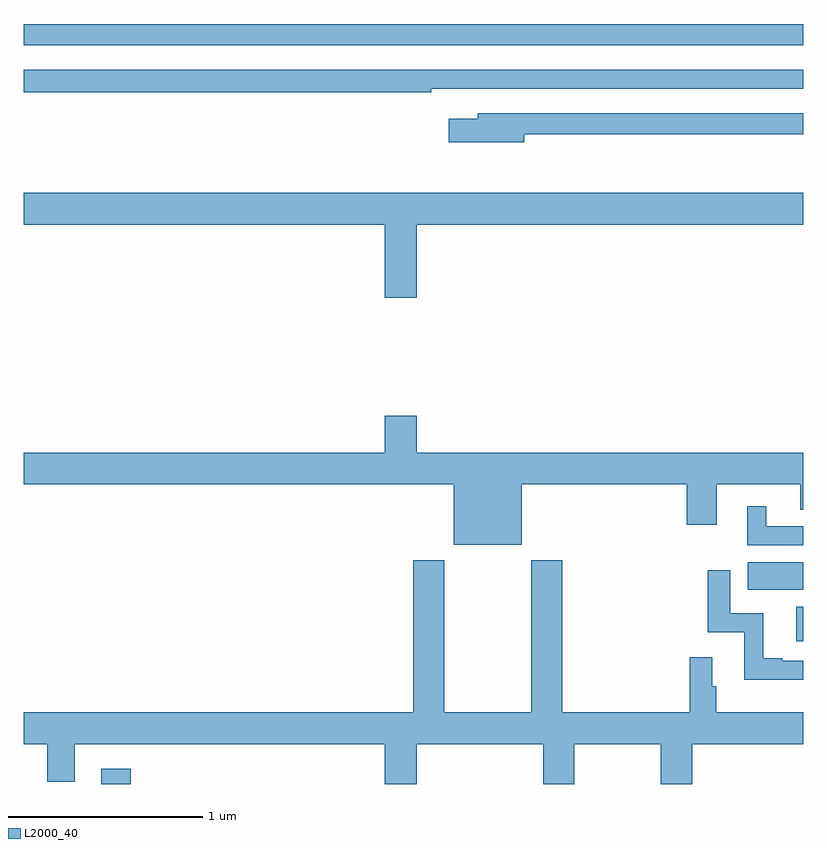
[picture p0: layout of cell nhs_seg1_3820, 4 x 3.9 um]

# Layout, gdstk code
import gdstk
lib = gdstk.Library(unit=1e-6, precision=1e-09)
def R(c, l, rs):  # rectangles x0, y0, x1, y1
    for r in rs: c.add(gdstk.rectangle(r[:2], r[2:], *l))
def P(c, l, *ps):  # polygons
    for p in ps: c.add(gdstk.Polygon(p, *l))
L2000_40 = (2000, 40)

nhs_seg1_3820 = lib.new_cell('nhs_seg1_3820')
R(nhs_seg1_3820, L2000_40, [(319.397,546.199,319.55,546.277), (322.964,546.932,323,547.108), (322.716,547.196,323,547.336), (319,549.99,323,550.099)])
P(nhs_seg1_3820, L2000_40, [(321.092,549.768),(323,549.768),(323,549.864),(319,549.864),(319,549.748),(321.092,549.748)],
  [(321.568,549.534),(323,549.534),(323,549.642),(321.329,549.642),(321.329,549.613),(321.18,549.613),(321.18,549.491),(321.568,549.491)],
  [(321.016,549.068),(323,549.068),(323,549.232),(319,549.232),(319,549.068),(320.852,549.068),(320.852,548.694),(321.016,548.694)],
  [(321.556,547.736),(322.403,547.736),(322.403,547.53),(322.555,547.53),(322.555,547.736),(322.985,547.736),(322.985,547.606),(323,547.606),(323,547.9),(321.016,547.9),(321.016,548.089),(320.852,548.089),(320.852,547.9),(319,547.9),(319,547.736),(321.206,547.736),(321.206,547.427),(321.556,547.427)],
  [(323,547.521),(322.81,547.521),(322.81,547.624),(322.712,547.624),(322.712,547.425),(323,547.425)],
  [(321.016,546.404),(321.665,546.404),(321.665,546.199),(321.825,546.199),(321.825,546.404),(322.27,546.404),(322.27,546.199),(322.43,546.199),(322.43,546.404),(323,546.404),(323,546.568),(322.553,546.568),(322.553,546.701),(322.534,546.701),(322.534,546.85),(322.417,546.85),(322.417,546.568),(321.764,546.568),(321.764,547.348),(321.604,547.348),(321.604,546.568),(321.159,546.568),(321.159,547.348),(320.999,547.348),(320.999,546.568),(319,546.568),(319,546.404),(319.121,546.404),(319.121,546.21),(319.261,546.21),(319.261,546.404),(320.852,546.404),(320.852,546.199),(321.016,546.199)],
  [(323,546.831),(322.891,546.831),(322.891,546.844),(322.795,546.844),(322.795,547.074),(322.626,547.074),(322.626,547.297),(322.51,547.297),(322.51,546.978),(322.697,546.978),(322.697,546.734),(323,546.734)])

lib.write_gds('nhs_seg1_3820.gds')
